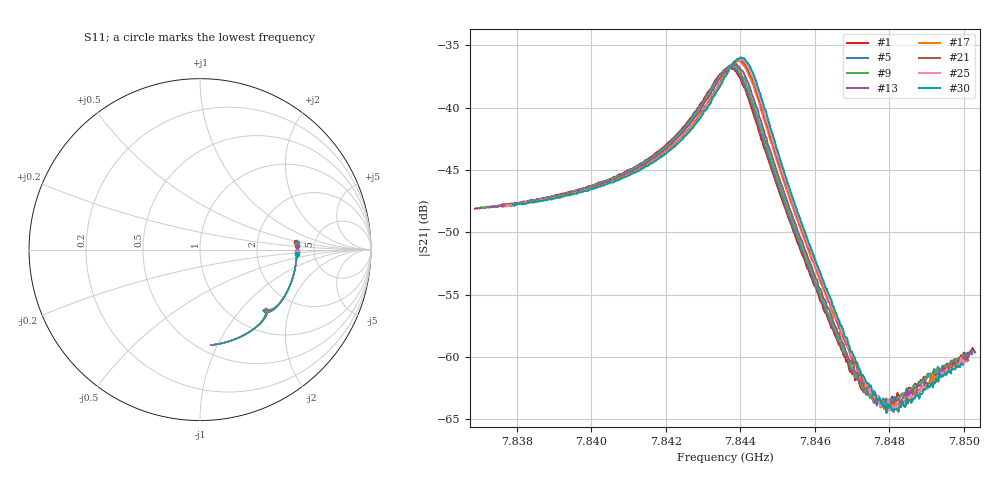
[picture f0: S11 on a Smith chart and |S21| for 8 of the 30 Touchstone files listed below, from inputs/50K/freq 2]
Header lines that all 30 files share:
#  HZ  S  RI  R  50.00
! Rohde & Schwarz Vector Network Analyzer
! Rohde-Schwarz,ZNB20-2Port,1311601062101988,3.16
! freq[Hz]  re:S11  im:S11  re:S21  im:S21  re:S12  im:S12  re:S22  im:S22
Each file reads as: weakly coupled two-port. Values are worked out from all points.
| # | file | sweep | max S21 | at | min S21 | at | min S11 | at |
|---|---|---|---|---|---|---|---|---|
| 1 | 167_2_48.0997_50.0311737_80965.531_.s2p | 7.83688 GHz to 7.85029 GHz | -36.78 dB | 7.84372 GHz | -63.8 dB | 7.84795 GHz | -5.7 dB | 7.84386 GHz |
| 2 | 171_2_48.1019_50.0362892_78708.688_.s2p | 7.83676 GHz to 7.85042 GHz | -36.72 dB | 7.84366 GHz | -64.1 dB | 7.8479 GHz | -5.7 dB | 7.84387 GHz |
| 3 | 173_2_48.1003_50.0387878_77270.828_.s2p | 7.83689 GHz to 7.85032 GHz | -36.70 dB | 7.84374 GHz | -63.9 dB | 7.8477 GHz | -5.7 dB | 7.84387 GHz |
| 4 | 178_2_48.1029_50.0441666_74394.063_.s2p | 7.8368 GHz to 7.85042 GHz | -36.71 dB | 7.84375 GHz | -64.2 dB | 7.84787 GHz | -5.7 dB | 7.84388 GHz |
| 5 | 184_2_48.0993_50.0512047_70688.813_.s2p | 7.837 GHz to 7.85029 GHz | -36.61 dB | 7.84374 GHz | -64.0 dB | 7.8479 GHz | -5.7 dB | 7.84388 GHz |
| 6 | 192_2_48.1017_50.0586777_66155.406_.s2p | 7.83696 GHz to 7.85032 GHz | -36.62 dB | 7.84371 GHz | -63.9 dB | 7.84778 GHz | -5.7 dB | 7.84391 GHz |
| 7 | 196_2_48.1_50.0639839_63598.223_.s2p | 7.83687 GHz to 7.85044 GHz | -36.66 dB | 7.84373 GHz | -64.0 dB | 7.84786 GHz | -5.7 dB | 7.84393 GHz |
| 8 | 197_2_48.1037_50.0651207_63029.113_.s2p | 7.83694 GHz to 7.85038 GHz | -36.61 dB | 7.84383 GHz | -64.1 dB | 7.84779 GHz | -5.7 dB | 7.84389 GHz |
| 9 | 200_2_48.0977_50.0690041_61281.188_.s2p | 7.83711 GHz to 7.85023 GHz | -36.60 dB | 7.84377 GHz | -63.9 dB | 7.84797 GHz | -5.7 dB | 7.84394 GHz |
| 10 | 205_2_48.0983_50.077877_58165.34_.s2p | 7.83694 GHz to 7.85041 GHz | -36.58 dB | 7.84381 GHz | -63.9 dB | 7.84789 GHz | -5.7 dB | 7.84395 GHz |
| 11 | 209_2_48.0978_50.0832596_55908.938_.s2p | 7.83708 GHz to 7.85032 GHz | -36.49 dB | 7.84383 GHz | -64.0 dB | 7.8477 GHz | -5.7 dB | 7.84393 GHz |
| 12 | 210_2_48.0983_50.0822411_55309.566_.s2p | 7.83713 GHz to 7.8503 GHz | -36.63 dB | 7.84381 GHz | -63.9 dB | 7.84799 GHz | -5.7 dB | 7.84397 GHz |
| 13 | 221_2_48.0975_50.0957718_48748.047_.s2p | 7.83723 GHz to 7.85022 GHz | -36.47 dB | 7.84389 GHz | -63.9 dB | 7.84808 GHz | -5.8 dB | 7.84399 GHz |
| 14 | 226_2_48.0992_50.1028366_45551.953_.s2p | 7.8372 GHz to 7.85027 GHz | -36.49 dB | 7.84387 GHz | -64.2 dB | 7.84802 GHz | -5.8 dB | 7.844 GHz |
| 15 | 227_2_48.1024_50.1026077_45012.719_.s2p | 7.8373 GHz to 7.85018 GHz | -36.47 dB | 7.8439 GHz | -64.1 dB | 7.8478 GHz | -5.8 dB | 7.84397 GHz |
| 16 | 249_2_48.1015_50.130909_31899.574_.s2p | 7.8373 GHz to 7.85029 GHz | -36.31 dB | 7.84393 GHz | -64.0 dB | 7.84799 GHz | -5.8 dB | 7.84402 GHz |
| 17 | 259_2_48.1014_50.140934_25877.906_.s2p | 7.83772 GHz to 7.84997 GHz | -36.25 dB | 7.84393 GHz | -64.2 dB | 7.84791 GHz | -5.8 dB | 7.84406 GHz |
| 18 | 266_2_48.0963_50.1506424_21633.129_.s2p | 7.83747 GHz to 7.85022 GHz | -36.22 dB | 7.84391 GHz | -64.2 dB | 7.84802 GHz | -5.8 dB | 7.84407 GHz |
| 19 | 267_2_48.0984_50.1508675_21034.186_.s2p | 7.83749 GHz to 7.85022 GHz | -36.14 dB | 7.84398 GHz | -64.1 dB | 7.84815 GHz | -5.8 dB | 7.84407 GHz |
| 20 | 269_2_48.0987_50.1523895_19875.752_.s2p | 7.83768 GHz to 7.85007 GHz | -36.16 dB | 7.84394 GHz | -64.2 dB | 7.84821 GHz | -5.8 dB | 7.84409 GHz |
| 21 | 270_2_48.0983_50.1526413_19326.129_.s2p | 7.83763 GHz to 7.85011 GHz | -36.12 dB | 7.844 GHz | -64.4 dB | 7.84824 GHz | -5.8 dB | 7.84409 GHz |
| 22 | 275_2_48.0963_50.1565247_16210.651_.s2p | 7.83754 GHz to 7.8502 GHz | -36.11 dB | 7.84393 GHz | -64.2 dB | 7.84814 GHz | -5.8 dB | 7.84412 GHz |
| 23 | 277_2_48.0985_50.1581955_15040.823_.s2p | 7.83755 GHz to 7.85022 GHz | -36.11 dB | 7.84395 GHz | -64.2 dB | 7.84794 GHz | -5.8 dB | 7.8441 GHz |
| 24 | 279_2_48.0994_50.1606255_13901.068_.s2p | 7.8377 GHz to 7.85007 GHz | -36.10 dB | 7.84401 GHz | -64.4 dB | 7.84803 GHz | -5.8 dB | 7.84413 GHz |
| 25 | 280_2_48.0991_50.160675_13361.313_.s2p | 7.83771 GHz to 7.85007 GHz | -36.14 dB | 7.84395 GHz | -64.5 dB | 7.84812 GHz | -5.8 dB | 7.8441 GHz |
| 26 | 289_2_48.1007_50.1690788_7932.07_.s2p | 7.83777 GHz to 7.85006 GHz | -36.00 dB | 7.84404 GHz | -64.5 dB | 7.84822 GHz | -5.8 dB | 7.84413 GHz |
| 27 | 291_2_48.0974_50.1669159_6782.432_.s2p | 7.83768 GHz to 7.85014 GHz | -35.97 dB | 7.84403 GHz | -64.3 dB | 7.84796 GHz | -5.8 dB | 7.84416 GHz |
| 28 | 300_2_48.1018_50.1703415_1340.107_.s2p | 7.83786 GHz to 7.85002 GHz | -35.94 dB | 7.84403 GHz | -64.4 dB | 7.84817 GHz | -5.8 dB | 7.84415 GHz |
| 29 | 305_2_48.0987_50.1700668_-0.346_.s2p | 7.83774 GHz to 7.85012 GHz | -35.94 dB | 7.84399 GHz | -64.3 dB | 7.84817 GHz | -5.8 dB | 7.84414 GHz |
| 30 | 308_2_48.1009_50.1690788_-0.346_.s2p | 7.83789 GHz to 7.84998 GHz | -35.95 dB | 7.84402 GHz | -64.5 dB | 7.84792 GHz | -5.8 dB | 7.84414 GHz |
